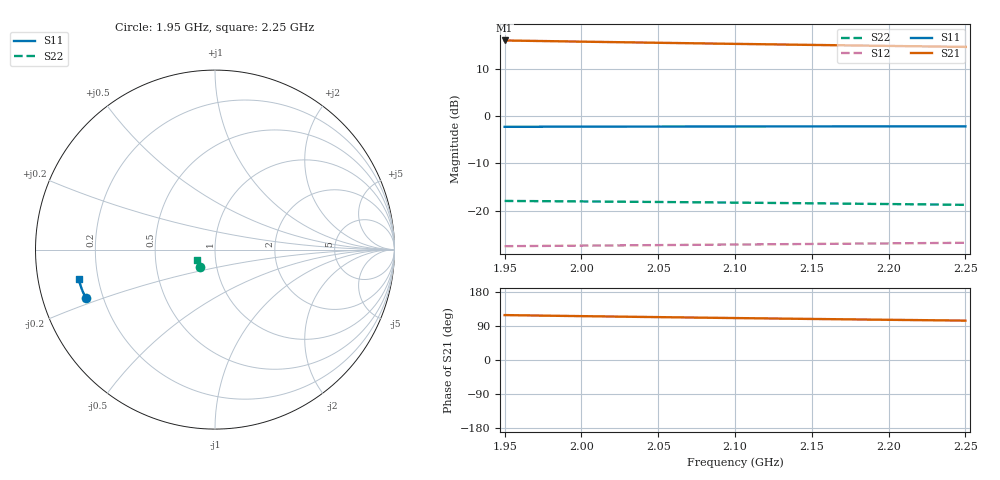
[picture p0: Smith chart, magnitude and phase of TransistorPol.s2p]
! Created Sat Jun  8 21:46:54 2019
# hz S ma R 50
! 2 Port Network Data from SP1.SP block
! freq  magS11  angS11  magS21  angS21  magS12  angS12  magS22  angS22
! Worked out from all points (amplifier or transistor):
!   7 points, 1.95 GHz to 2.25 GHz, reference 50 ohm
!   highest |S21| = 15.9 dB at 1.95 GHz (marker M1)
!   |S21| within 3 dB of that: start of sweep to end of sweep
!   unconditionally stable (mu >= 1): nowhere
!   at 2 GHz: K = 0.97, MSG = 21.5 dB, |S12| = -27.4 dB
!   at 2.1 GHz: K = 0.98, MSG = 21.2 dB, |S12| = -27.1 dB
!   at 2.25 GHz: K = 0.99, MSG = 20.7 dB, |S12| = -26.8 dB
1.95e9  0.7683 -159.4  6.251 118.5  0.04234 93.1  0.127 -131.3
2e9  0.7709 -160.9  6.074 115.8  0.04289 91.3  0.1255 -135.7
2.05e9  0.7728 -162.3  5.909 113.1  0.04346 89.6  0.1238 -139.5
2.1e9  0.7743 -163.7  5.755 110.7  0.04405 88.1  0.1219 -142.9
2.15e9  0.7754 -165.1  5.61 108.3  0.04467 86.6  0.1199 -145.8
2.2e9  0.7762 -166.4  5.475 106.1  0.04531 85.2  0.1178 -148.4
2.25e9  0.7768 -167.7  5.347 103.9  0.04597 83.9  0.1155 -150.7
